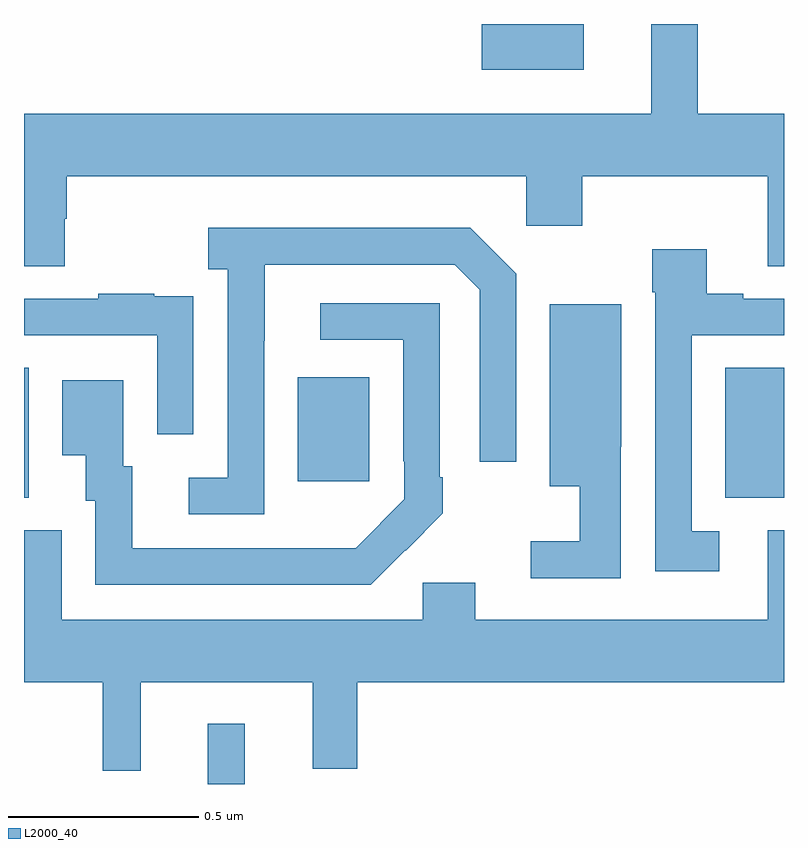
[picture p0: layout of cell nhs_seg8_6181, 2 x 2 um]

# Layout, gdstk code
import gdstk
lib = gdstk.Library(unit=1e-6, precision=1e-09)
def R(c, l, rs):  # rectangles x0, y0, x1, y1
    for r in rs: c.add(gdstk.rectangle(r[:2], r[2:], *l))
def P(c, l, *ps):  # polygons
    for p in ps: c.add(gdstk.Polygon(p, *l))
L2000_40 = (2000, 40)

nhs_seg8_6181 = lib.new_cell('nhs_seg8_6181')
R(nhs_seg8_6181, L2000_40, [(193.484,1114.9,193.581,1115.059), (193,1115.653,193.012,1115.996), (194.846,1115.653,195,1115.996), (193.721,1115.697,193.909,1115.971), (194.204,1116.779,194.473,1116.9)])
P(nhs_seg8_6181, L2000_40, [(193.107,1116.387),(193.112,1116.387),(193.112,1116.5),(194.322,1116.5),(194.322,1116.369),(194.469,1116.369),(194.469,1116.5),(194.957,1116.5),(194.957,1116.262),(195,1116.262),(195,1116.664),(194.773,1116.664),(194.773,1116.9),(194.651,1116.9),(194.651,1116.664),(193,1116.664),(193,1116.262),(193.107,1116.262)],
  [(193.632,1116.067),(193.633,1116.067),(193.633,1116.267),(194.133,1116.267),(194.199,1116.201),(194.199,1115.748),(194.295,1115.748),(194.295,1116.243),(194.174,1116.364),(193.485,1116.364),(193.485,1116.254),(193.536,1116.254),(193.536,1115.706),(193.434,1115.706),(193.434,1115.61),(193.632,1115.61)],
  [(194.83,1115.565),(194.757,1115.565),(194.757,1116.081),(195,1116.081),(195,1116.177),(194.893,1116.177),(194.893,1116.19),(194.797,1116.19),(194.797,1116.307),(194.653,1116.307),(194.653,1116.194),(194.661,1116.194),(194.661,1115.46),(194.83,1115.46)],
  [(193.446,1116.074),(193.445,1116.074),(193.445,1116.183),(193.343,1116.183),(193.343,1116.19),(193.195,1116.19),(193.195,1116.177),(193,1116.177),(193,1116.081),(193.35,1116.081),(193.35,1115.82),(193.446,1115.82)],
  [(194.003,1115.515),(194.004,1115.514),(194.102,1115.612),(194.102,1115.707),(194.094,1115.707),(194.094,1116.165),(193.779,1116.165),(193.779,1116.069),(193.998,1116.069),(193.998,1115.749),(194.001,1115.749),(194.001,1115.649),(193.873,1115.521),(193.769,1115.521),(193.769,1115.52),(193.285,1115.52),(193.285,1115.736),(193.261,1115.736),(193.261,1115.962),(193.1,1115.962),(193.1,1115.765),(193.163,1115.765),(193.163,1115.646),(193.188,1115.646),(193.188,1115.424),(193.912,1115.424)],
  [(194.571,1115.788),(194.572,1115.788),(194.572,1116.163),(194.384,1116.163),(194.384,1115.684),(194.463,1115.684),(194.463,1115.539),(194.334,1115.539),(194.334,1115.442),(194.571,1115.442)],
  [(193.307,1115.168),(193.76,1115.168),(193.76,1114.94),(193.877,1114.94),(193.877,1115.168),(195,1115.168),(195,1115.568),(194.957,1115.568),(194.957,1115.332),(194.188,1115.332),(194.188,1115.43),(194.049,1115.43),(194.049,1115.332),(193.099,1115.332),(193.099,1115.568),(193,1115.568),(193,1115.168),(193.207,1115.168),(193.207,1114.935),(193.307,1114.935)])

lib.write_gds('nhs_seg8_6181.gds')
